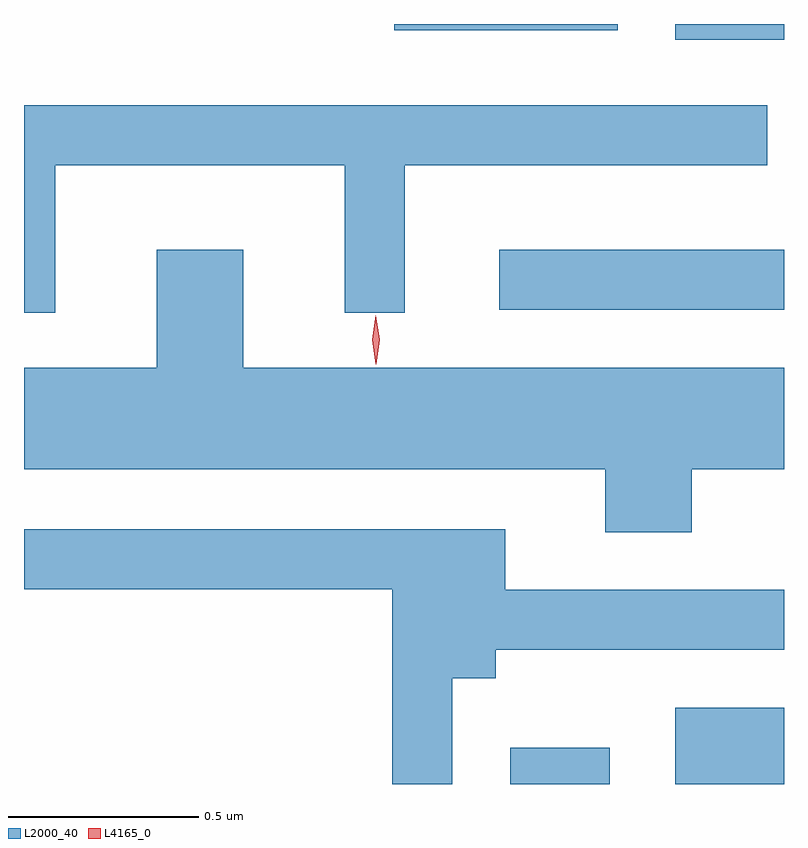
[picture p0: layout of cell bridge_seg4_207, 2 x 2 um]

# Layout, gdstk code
import gdstk
lib = gdstk.Library(unit=1e-6, precision=1e-09)
def R(c, l, rs):  # rectangles x0, y0, x1, y1
    for r in rs: c.add(gdstk.rectangle(r[:2], r[2:], *l))
def P(c, l, *ps):  # polygons
    for p in ps: c.add(gdstk.Polygon(p, *l))
L2000_40 = (2000, 40)
L4165_0 = (4165, 0)

bridge_seg4_207 = lib.new_cell('bridge_seg4_207')
R(bridge_seg4_207, L2000_40, [(1127.281,1287.248,1127.544,1287.344), (1127.716,1287.248,1128.002,1287.449), (1127.253,1288.496,1128.002,1288.654), (1127.716,1289.206,1128.002,1289.248), (1126.976,1289.231,1127.564,1289.248)])
P(bridge_seg4_207, L2000_40, [(1126.084,1288.876),(1126.846,1288.876),(1126.846,1288.488),(1127.004,1288.488),(1127.004,1288.876),(1127.958,1288.876),(1127.958,1289.034),(1126.002,1289.034),(1126.002,1288.488),(1126.084,1288.488)],
  [(1127.759,1288.076),(1128.002,1288.076),(1128.002,1288.344),(1126.579,1288.344),(1126.579,1288.654),(1126.351,1288.654),(1126.351,1288.344),(1126.002,1288.344),(1126.002,1288.076),(1127.531,1288.076),(1127.531,1287.911),(1127.759,1287.911)],
  [(1127.129,1287.526),(1127.244,1287.526),(1127.244,1287.601),(1128.002,1287.601),(1128.002,1287.759),(1127.269,1287.759),(1127.269,1287.919),(1126.002,1287.919),(1126.002,1287.761),(1126.971,1287.761),(1126.971,1287.248),(1127.129,1287.248)])
P(bridge_seg4_207, L4165_0, [(1126.929,1288.352),(1126.928,1288.353),(1126.918,1288.417),(1126.927,1288.482),(1126.928,1288.482),(1126.928,1288.482),(1126.938,1288.417),(1126.929,1288.353)])

lib.write_gds('bridge_seg4_207.gds')
